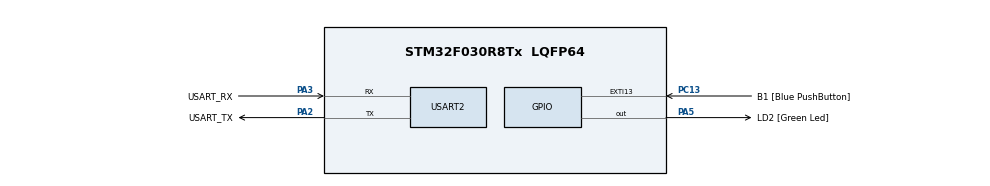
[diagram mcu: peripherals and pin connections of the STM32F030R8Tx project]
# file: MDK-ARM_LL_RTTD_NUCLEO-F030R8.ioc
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Mcu.Family=STM32F0
Mcu.Name=STM32F030R8Tx
Mcu.Package=LQFP64
PA13.GPIO_Label=TMS
PA13.Mode=Serial_Wire
PA13.Signal=SYS_SWDIO
PA14.GPIO_Label=TCK
PA14.Mode=Serial_Wire
PA14.Signal=SYS_SWCLK
PA2.GPIO_Label=USART_TX
PA2.GPIO_Mode=GPIO_MODE_AF_PP
PA2.GPIO_PuPd=GPIO_NOPULL
PA2.GPIO_Speed=GPIO_SPEED_FREQ_LOW
PA2.Mode=Asynchronous
PA2.Signal=USART2_TX
PA3.GPIO_Label=USART_RX
PA3.GPIO_Mode=GPIO_MODE_AF_PP
PA3.GPIO_PuPd=GPIO_NOPULL
PA3.GPIO_Speed=GPIO_SPEED_FREQ_LOW
PA3.Mode=Asynchronous
PA3.Signal=USART2_RX
PA5.GPIO_Label=LD2 [Green Led]
PA5.GPIO_Mode=GPIO_MODE_OUTPUT_PP
PA5.GPIO_PuPd=GPIO_NOPULL
PA5.GPIO_Speed=GPIO_SPEED_FREQ_LOW
PA5.Signal=GPIO_Output
PC13.GPIO_Label=B1 [Blue PushButton]
PC13.GPIO_ModeDefaultEXTI=GPIO_MODE_IT_FALLING
PC13.Signal=GPXTI13
PC14-OSC32_IN.Mode=LSE-External-Oscillator
PC14-OSC32_IN.Signal=RCC_OSC32_IN
PC15-OSC32_OUT.Mode=LSE-External-Oscillator
PC15-OSC32_OUT.Signal=RCC_OSC32_OUT
PF0-OSC_IN.Mode=HSE-External-Clock-Source
PF0-OSC_IN.Signal=RCC_OSC_IN
PF1-OSC_OUT.Signal=RCC_OSC_OUT
ProjectManager.HeapSize=0x200
ProjectManager.StackSize=0x400
ProjectManager.TargetToolchain=MDK-ARM V5.27
RCC.AHBFreq_Value=48000000
RCC.APB1Freq_Value=48000000
RCC.APB1TimFreq_Value=48000000
RCC.HCLKFreq_Value=48000000
RCC.PLLMUL=RCC_PLL_MUL12
RCC.SYSCLKFreq_VALUE=48000000
RCC.SYSCLKSource=RCC_SYSCLKSOURCE_PLLCLK
USART2.VirtualMode-Asynchronous=VM_ASYNC
board=NUCLEO-F030R8

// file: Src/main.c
/* USER CODE BEGIN Header */
/**
  ******************************************************************************
  * @file           : main.c
  * @brief          : Main program body
  ******************************************************************************
  * @attention
  *
  * <h2><center>&copy; Copyright (c) 2020 STMicroelectronics.
  * All rights reserved.</center></h2>
  *
  * This software component is licensed by ST under BSD 3-Clause license,
  * the "License"; You may not use this file except in compliance with the
  * License. You may obtain a copy of the License at:
  *                        opensource.org/licenses/BSD-3-Clause
  *
  ******************************************************************************
  */
/* USER CODE END Header */

#include "main.h"

/* USER CODE BEGIN Includes */
#include "SEGGER_RTT.h"
#include "string.h"
#include "trice.h"
/* USER CODE END Includes */

void SystemClock_Config(void);
static void MX_GPIO_Init(void);
static void MX_USART2_UART_Init(void);

int main(void)
{

  /* MCU Configuration--------------------------------------------------------*/

  /* Reset of all peripherals, Initializes the Flash interface and the Systick. */

  LL_APB1_GRP2_EnableClock(LL_APB1_GRP2_PERIPH_SYSCFG);
  LL_APB1_GRP1_EnableClock(LL_APB1_GRP1_PERIPH_PWR);

  /* System interrupt init*/

  /* Configure the system clock */
  SystemClock_Config();

  /* USER CODE BEGIN SysInit */
    SysTick->CTRL |= SysTick_CTRL_TICKINT_Msk; // enable SysTick interrupt
  /* USER CODE END SysInit */

  /* Initialize all configured peripherals */
  MX_GPIO_Init();
  MX_USART2_UART_Init();

  /* Infinite loop */
  /* USER CODE BEGIN WHILE */
    TRICE_SYNC;
    TRICE16_1( Id( 2625), "TIM:timing      message, SysTick is %6d\n", SYSTICKVAL16 );
    TRICE0( Id(14718), "att:MDK-ARM_LL_RTTD_NUCLEO-F030R8\n" );
    TRICE16_1( Id( 2625), "TIM:timing      message, SysTick is %6d\n", SYSTICKVAL16 );
    TRICE16_1( Id( 2625), "TIM:timing      message, SysTick is %6d\n", SYSTICKVAL16 );
    TRICE16_1( Id( 2625), "TIM:timing      message, SysTick is %6d\n", SYSTICKVAL16 );
    TRICE16_1( Id( 2625), "TIM:timing      message, SysTick is %6d\n", SYSTICKVAL16 );
    SEGGER_RTT_GetAvailWriteSpace(0);
    char* s = "Hi5!\n";
    SEGGER_RTT_Write(0, s, strlen(s));
    while (1)
    {
      //////////////////////////////////////////////////
      // demo trices
      //
      static uint32_t ms_1 = 0;
      extern uint32_t ms;
      if( ms >= ms_1 + 1000 ){ // every sec
          TRICE_SYNC; // for re-synchronisation the running target
          static int index = 0;
          triceCheckSet(index++%20);
          TRICE32_1( Id(29200), "time:ms = %d\n", ms );
          LL_GPIO_TogglePin(LD2_GPIO_Port, LD2_Pin);
          ms_1 = ms;
      }
      //
      //////////////////////////////////////////////////

      //////////////////////////////////////////////////
      // no background activity needed in code
      //////////////////////////////////////////////////

    /* USER CODE END WHILE */

  }
}

void SystemClock_Config(void)
{
  LL_FLASH_SetLatency(LL_FLASH_LATENCY_1);

  if(LL_FLASH_GetLatency() != LL_FLASH_LATENCY_1)
  {
  Error_Handler();
  }
  LL_RCC_HSI_Enable();

   /* Wait till HSI is ready */
  while(LL_RCC_HSI_IsReady() != 1)
  {

  }
  LL_RCC_HSI_SetCalibTrimming(16);
  LL_RCC_PLL_ConfigDomain_SYS(LL_RCC_PLLSOURCE_HSI_DIV_2, LL_RCC_PLL_MUL_12);
  LL_RCC_PLL_Enable();

   /* Wait till PLL is ready */
  while(LL_RCC_PLL_IsReady() != 1)
  {

  }
  LL_RCC_SetAHBPrescaler(LL_RCC_SYSCLK_DIV_1);
  LL_RCC_SetAPB1Prescaler(LL_RCC_APB1_DIV_1);
  LL_RCC_SetSysClkSource(LL_RCC_SYS_CLKSOURCE_PLL);

   /* Wait till System clock is ready */
  while(LL_RCC_GetSysClkSource() != LL_RCC_SYS_CLKSOURCE_STATUS_PLL)
  {

  }
  LL_Init1msTick(48000000);
  LL_SetSystemCoreClock(48000000);
}

static void MX_USART2_UART_Init(void)
{

  LL_USART_InitTypeDef USART_InitStruct = {0};

  LL_GPIO_InitTypeDef GPIO_InitStruct = {0};

  /* Peripheral clock enable */
  LL_APB1_GRP1_EnableClock(LL_APB1_GRP1_PERIPH_USART2);

  LL_AHB1_GRP1_EnableClock(LL_AHB1_GRP1_PERIPH_GPIOA);
  /**USART2 GPIO Configuration
  PA2   ------> USART2_TX
  PA3   ------> USART2_RX
  */
  GPIO_InitStruct.Pin = USART_TX_Pin;
  GPIO_InitStruct.Mode = LL_GPIO_MODE_ALTERNATE;
  GPIO_InitStruct.Speed = LL_GPIO_SPEED_FREQ_LOW;
  GPIO_InitStruct.OutputType = LL_GPIO_OUTPUT_PUSHPULL;
  GPIO_InitStruct.Pull = LL_GPIO_PULL_NO;
  GPIO_InitStruct.Alternate = LL_GPIO_AF_1;
  LL_GPIO_Init(USART_TX_GPIO_Port, &GPIO_InitStruct);

  GPIO_InitStruct.Pin = USART_RX_Pin;
  GPIO_InitStruct.Mode = LL_GPIO_MODE_ALTERNATE;
  GPIO_InitStruct.Speed = LL_GPIO_SPEED_FREQ_LOW;
  GPIO_InitStruct.OutputType = LL_GPIO_OUTPUT_PUSHPULL;
  GPIO_InitStruct.Pull = LL_GPIO_PULL_NO;
  GPIO_InitStruct.Alternate = LL_GPIO_AF_1;
  LL_GPIO_Init(USART_RX_GPIO_Port, &GPIO_InitStruct);

  USART_InitStruct.BaudRate = 38400;
  USART_InitStruct.DataWidth = LL_USART_DATAWIDTH_8B;
  USART_InitStruct.StopBits = LL_USART_STOPBITS_1;
  USART_InitStruct.Parity = LL_USART_PARITY_NONE;
  USART_InitStruct.TransferDirection = LL_USART_DIRECTION_TX_RX;
  USART_InitStruct.HardwareFlowControl = LL_USART_HWCONTROL_NONE;
  USART_InitStruct.OverSampling = LL_USART_OVERSAMPLING_16;
  LL_USART_Init(USART2, &USART_InitStruct);
  LL_USART_DisableIT_CTS(USART2);
  LL_USART_ConfigAsyncMode(USART2);
  LL_USART_Enable(USART2);

}

static void MX_GPIO_Init(void)
{
  LL_EXTI_InitTypeDef EXTI_InitStruct = {0};
  LL_GPIO_InitTypeDef GPIO_InitStruct = {0};

  /* GPIO Ports Clock Enable */
  LL_AHB1_GRP1_EnableClock(LL_AHB1_GRP1_PERIPH_GPIOC);
  LL_AHB1_GRP1_EnableClock(LL_AHB1_GRP1_PERIPH_GPIOF);
  LL_AHB1_GRP1_EnableClock(LL_AHB1_GRP1_PERIPH_GPIOA);

  /**/
  LL_GPIO_ResetOutputPin(LD2_GPIO_Port, LD2_Pin);

  /**/
  LL_SYSCFG_SetEXTISource(LL_SYSCFG_EXTI_PORTC, LL_SYSCFG_EXTI_LINE13);

  /**/
  LL_GPIO_SetPinPull(B1_GPIO_Port, B1_Pin, LL_GPIO_PULL_NO);

  /**/
  LL_GPIO_SetPinMode(B1_GPIO_Port, B1_Pin, LL_GPIO_MODE_INPUT);

  /**/
  EXTI_InitStruct.Line_0_31 = LL_EXTI_LINE_13;
  EXTI_InitStruct.LineCommand = ENABLE;
  EXTI_InitStruct.Mode = LL_EXTI_MODE_IT;
  EXTI_InitStruct.Trigger = LL_EXTI_TRIGGER_FALLING;
  LL_EXTI_Init(&EXTI_InitStruct);

  /**/
  GPIO_InitStruct.Pin = LD2_Pin;
  GPIO_InitStruct.Mode = LL_GPIO_MODE_OUTPUT;
  GPIO_InitStruct.Speed = LL_GPIO_SPEED_FREQ_LOW;
  GPIO_InitStruct.OutputType = LL_GPIO_OUTPUT_PUSHPULL;
  GPIO_InitStruct.Pull = LL_GPIO_PULL_NO;
  LL_GPIO_Init(LD2_GPIO_Port, &GPIO_InitStruct);

}

void Error_Handler(void)
{
}

/************************ (C) COPYRIGHT STMicroelectronics *****END OF FILE****/
